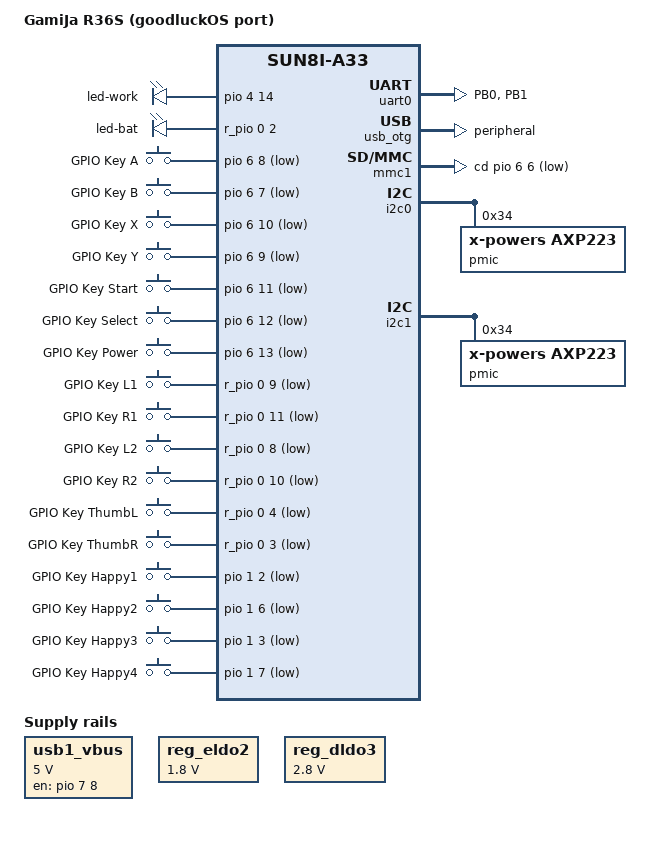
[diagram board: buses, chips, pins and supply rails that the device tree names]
/*
 * GamiJa R36S (Batocera clone) - shared device tree baseline
 *
 * Tracked in goodluckOS issue #99. Everything below is decoded from the
 * unit's own script.bin (see image/out/r36s-analysis/script.fex, produced
 * by image/tools/scriptbin2fex.py from the real 9.53 GB stock dump) plus
 * PCB evidence cross-checks. Every setting cites its fex source.
 *
 * Board summary (fex evidence):
 *   - SoC: Allwinner A33 ("parrot"), boot_clock 1008, 512 MB DDR3 (dram_type=3)
 *   - Display: NV3051D panel 640x480, 4-lane DSI, eotp=0 ([lcd0_para]):
 *     ht=820 hbp=100 hspw=20 vt=510 vbp=16 vspw=4, dclk 24 MHz
 *     lcd_power=axp22_dc1sw, lcd_power1=axp22_eldo2 (1.8 V), reset PH07
 *   - Backlight: PWM ch0 on PH00, lcd_pwm_freq=50000 -> 20 us period
 *   - Gamepad: analog sticks = GPADC (amux channels 6 7 5 4, invert x/y);
 *     digital buttons are plain GPIOs ([gpiokey_para], see below). There is
 *     NO UART-attached MCU (the GA36-MB gamepad driver does not apply).
 *   - Volume keys: LRADC ladder ([key_para] 190/390 -> KEY_VOLUMEUP/DOWN).
 *     The gpiokey PH04/PH05 entries duplicate those codes and collide with
 *     twi1 pins; they are template leftovers and are not implemented.
 *   - LEDs: work_led PE14, bat_led PL02 ([bat_leds], active high).
 *   - Audio: codec + speaker/headphone PA on PH09 ([audio0]) - same as the
 *     GA36-MB A33, so the sound wiring is inherited unchanged.
 *   - USB: OTG in peripheral mode ([usbc0] usb_port_type=0; matches the
 *     observed "console enumerates on phones but not PCs" behaviour); the
 *     dedicated host port ([usbc1]) drives VBUS on PH08.
 *   - PMU: AXP223. The unit wires it like the GA36-MB: RSB on PL0/PL1
 *     ([s_rsb0] s_rsb_used=1). [pmu1_para] pmu_twi_id=1/addr=52 are fex
 *     template defaults ([twi1] is explicitly twi_used=0); [twi_para] would
 *     instead suggest i2c0 @PH2/PH3. RSB is kept for now - verify the PMU
 *     probe on flash day via serial and switch to i2c0 if it fails.
 *   - Console UART: fex uart0 on PB0/PB1, mux 3 (mainline "uart0" function).
 *     Made serial0/ttyS0 so the stock bootargs console=ttyS0 keep working.
 *   - mmc0 = SD slot (PF pins, CD PB04); mmc1 = second SDIO bus with CD PG06
 *     (no wifi - [wifi_para] wifi_used=0; kept enabled as a plain SDIO bus).
 *
 * GPIO key map ([gpiokey_para], 19 keys; PH04/PH05 dropped, see above):
 *   PG07 BTN_EAST   PG08 BTN_SOUTH  PG09 BTN_WEST   PG10 BTN_NORTH
 *   PG11 BTN_START  PG12 BTN_SELECT PG13 KEY_SLEEP  (KEY code 704)
 *   PL03 BTN_THUMBR PL04 BTN_THUMBL PL08 BTN_TL2    PL09 BTN_TL
 *   PL10 BTN_TR2    PL11 BTN_TR
 *   PB02 BTN_TRIGGER_HAPPY1  PB03 BTN_TRIGGER_HAPPY3
 *   PB06 BTN_TRIGGER_HAPPY2  PB07 BTN_TRIGGER_HAPPY4
 *
 * Known deviations / TODO (verify on flash day via serial):
 *   - analog sticks need the GPADC amux dance (stock 3.4 driver); mainline
 *     has no equivalent, so only the digital buttons are wired for now.
 *   - power key: PG13 -> KEY_SLEEP as configured, plus the AXP223 PEK.
 *   - panel reset GPIO PH07 is taken from [lcd0_para] lcd_gpio_0 (BSP drives
 *     it high); confirm polarity if the panel stays dark.
 */
#include "ga36mb.dtsi"

/ {
    model = "GamiJa R36S (goodluckOS port)";
    compatible = "gaminja,r36s-a33-handheld", "allwinner,sun8i-a33";

    aliases {
        /* fex uart0 (PB0/PB1) = stock console; make it ttyS0 so the stock
         * u-boot env bootargs (console=ttyS0, rewritten by the installer)
         * reach it. The GA36-MB aliases point ttyS0 at its gamepad MCU
         * UART, which the R36S does not have. */
        serial0 = &uart0;
        mmc0 = &mmc0;
        mmc1 = &mmc1;
    };

    chosen {
        stdout-path = "serial0:115200n8";
    };

    /* Replace the GA36-MB LEDs (PL04/PG13 would fight the thumb buttons and
     * the power key). fex [bat_leds]: work_led=PE14, bat_led=PL02, both
     * driven high when lit (active_low=0). */
    /delete-node/ leds;

    leds {
        compatible = "gpio-leds";

        led-work {
            function = LED_FUNCTION_STATUS;
            gpios = <&pio 4 14 GPIO_ACTIVE_HIGH>;	/* PE14, fex work_led */
            default-state = "on";	/* DEBUG: gpio-leds probes early; revert before release */
        };

        led-bat {
            function = LED_FUNCTION_INDICATOR;
            gpios = <&r_pio 0 2 GPIO_ACTIVE_HIGH>;	/* PL02, fex bat_led */
            default-state = "off";
        };
    };

    /* Digital gamepad buttons ([gpiokey_para]). All are GPIO_ACTIVE_LOW with
     * default pull (the BSP muxes them as inputs); debounce 5 ms per fex.
     * Volume keys live on the LRADC (ga36mb.dtsi), not here. */
    gpio-keys {
        compatible = "gpio-keys";
        pinctrl-names = "default";
        pinctrl-0 = <&r36s_key_pins>, <&r36s_key_r_pins>;

        btn-a {
            label = "GPIO Key A";
            linux,code = <BTN_SOUTH>;
            gpios = <&pio 6 8 GPIO_ACTIVE_LOW>;		/* PG08 */
            debounce-interval = <5>;
        };

        btn-b {
            label = "GPIO Key B";
            linux,code = <BTN_EAST>;
            gpios = <&pio 6 7 GPIO_ACTIVE_LOW>;		/* PG07 */
            debounce-interval = <5>;
        };

        btn-x {
            label = "GPIO Key X";
            linux,code = <BTN_NORTH>;
            gpios = <&pio 6 10 GPIO_ACTIVE_LOW>;	/* PG10 */
            debounce-interval = <5>;
        };

        btn-y {
            label = "GPIO Key Y";
            linux,code = <BTN_WEST>;
            gpios = <&pio 6 9 GPIO_ACTIVE_LOW>;		/* PG09 */
            debounce-interval = <5>;
        };

        btn-start {
            label = "GPIO Key Start";
            linux,code = <BTN_START>;
            gpios = <&pio 6 11 GPIO_ACTIVE_LOW>;	/* PG11 */
            debounce-interval = <5>;
        };

        btn-select {
            label = "GPIO Key Select";
            linux,code = <BTN_SELECT>;
            gpios = <&pio 6 12 GPIO_ACTIVE_LOW>;	/* PG12 */
            debounce-interval = <5>;
        };

        btn-sleep {
            label = "GPIO Key Power";
            linux,code = <KEY_SLEEP>;
            gpios = <&pio 6 13 GPIO_ACTIVE_LOW>;	/* PG13 */
            debounce-interval = <5>;
            wakeup-source;
        };

        btn-l1 {
            label = "GPIO Key L1";
            linux,code = <BTN_TL>;
            gpios = <&r_pio 0 9 GPIO_ACTIVE_LOW>;	/* PL09 */
            debounce-interval = <5>;
        };

        btn-r1 {
            label = "GPIO Key R1";
            linux,code = <BTN_TR>;
            gpios = <&r_pio 0 11 GPIO_ACTIVE_LOW>;	/* PL11 */
            debounce-interval = <5>;
        };

        btn-l2 {
            label = "GPIO Key L2";
            linux,code = <BTN_TL2>;
            gpios = <&r_pio 0 8 GPIO_ACTIVE_LOW>;	/* PL08 */
            debounce-interval = <5>;
        };

        btn-r2 {
            label = "GPIO Key R2";
            linux,code = <BTN_TR2>;
            gpios = <&r_pio 0 10 GPIO_ACTIVE_LOW>;	/* PL10 */
            debounce-interval = <5>;
        };

        btn-thumbl {
            label = "GPIO Key ThumbL";
            linux,code = <BTN_THUMBL>;
            gpios = <&r_pio 0 4 GPIO_ACTIVE_LOW>;	/* PL04 */
            debounce-interval = <5>;
        };

        btn-thumbr {
            label = "GPIO Key ThumbR";
            linux,code = <BTN_THUMBR>;
            gpios = <&r_pio 0 3 GPIO_ACTIVE_LOW>;	/* PL03 */
            debounce-interval = <5>;
        };

        btn-happy1 {
            label = "GPIO Key Happy1";
            linux,code = <BTN_TRIGGER_HAPPY1>;
            gpios = <&pio 1 2 GPIO_ACTIVE_LOW>;		/* PB02 */
            debounce-interval = <5>;
        };

        btn-happy2 {
            label = "GPIO Key Happy2";
            linux,code = <BTN_TRIGGER_HAPPY2>;
            gpios = <&pio 1 6 GPIO_ACTIVE_LOW>;		/* PB06 */
            debounce-interval = <5>;
        };

        btn-happy3 {
            label = "GPIO Key Happy3";
            linux,code = <BTN_TRIGGER_HAPPY3>;
            gpios = <&pio 1 3 GPIO_ACTIVE_LOW>;		/* PB03 */
            debounce-interval = <5>;
        };

        btn-happy4 {
            label = "GPIO Key Happy4";
            linux,code = <BTN_TRIGGER_HAPPY4>;
            gpios = <&pio 1 7 GPIO_ACTIVE_LOW>;		/* PB07 */
            debounce-interval = <5>;
        };
    };

    /* Dedicated host port ([usbc1] usb_used=1, host_init_state=1) drives
     * VBUS with PH08 (mainline A33 host controller = ehci0/ohci0 on
     * usbphy 1). */
    usb1_vbus: usb1-vbus {
        compatible = "regulator-fixed";
        regulator-name = "usb1-vbus";
        regulator-min-microvolt = <5000000>;
        regulator-max-microvolt = <5000000>;
        gpio = <&pio 7 8 GPIO_ACTIVE_HIGH>;		/* PH08, fex usb_drv_vbus_gpio */
        enable-active-high;
    };
};

&pio {
    /* fex [uart_para]: uart0 on PB0/PB1, mux 3 = mainline "uart0" function */
    uart0_pb_pins: uart0-pb-pins {
        pins = "PB0", "PB1";
        function = "uart0";
    };

    /* All 17 GPIO buttons idle high (pull-ups) and pull to ground when
     * pressed; mux 0 (GPIO input) is the pinctrl default, so this only
     * needs the pin list for bias documentation. */
    r36s_key_pins: r36s-key-pins {
        pins = "PB2", "PB3", "PB6", "PB7",
               "PG7", "PG8", "PG9", "PG10", "PG11", "PG12", "PG13";
        function = "gpio_in";
        bias-pull-up;
    };
};

&r_pio {
    /* Shoulder/thumb buttons sit on R_PIO (PL bank, fex port letter 12) */
    r36s_key_r_pins: r36s-key-r-pins {
        pins = "PL3", "PL4", "PL8", "PL9", "PL10", "PL11";
        function = "gpio_in";
        bias-pull-up;
    };
};

/* Console UART (stock bootargs console=ttyS0) */
&uart0 {
    pinctrl-names = "default";
    pinctrl-0 = <&uart0_pb_pins>;
    status = "okay";
};

/* The GA36-MB UART setup does not apply to the R36S:
 * - uart1 (PG6/PG7) hosted its gamepad MCU; on the R36S those pins are
 *   [mmc1_para] sdc_det (PG06) and game buttons, so drop both.
 * - uart2 (PB0/PB1) is the stock console on the R36S and is taken by uart0. */
&uart1 {
    /delete-node/ serial-gamepad;
};

&uart1 {
    status = "disabled";
};

&uart2 {
    status = "disabled";
};

&usbphy {
    /* fex [usbc0]: usb_port_type=0 (plain device), detect_type=0 - there is
     * no OTG ID pin (matches the console never enumerating as a host). */
    /delete-property/ usb0_id_det-gpios;
    usb1_vbus-supply = <&usb1_vbus>;
};

&usb_otg {
    dr_mode = "peripheral";
    status = "okay";
};

/* SD slot is removable with a card-detect pin (fex sdc_det=PB04) */
&mmc0 {
    /delete-property/ non-removable;
};

/* Second SDIO bus, CD on PG06 (no wifi; kept as a plain SDIO bus) */
&mmc1 {
    /delete-property/ broken-cd;
    cd-gpios = <&pio 6 6 GPIO_ACTIVE_LOW>;	/* fex sdc_det=PG06 */
};

&backlight {
    /* fex [lcd0_para]: lcd_pwm_ch=0, lcd_pwm_freq=50000 -> 20 us period
     * (50 kHz); lcd0_backlight=50 -> 50 % default brightness. */
    pwms = <&pwm 0 20000 0>;
    default-brightness-level = <5>;
};

&dsi {
    /* ga36mb.dtsi declares the JD9366 panel; the R36S uses an NV3051D-
     * family controller instead. The compatible string is selected by the
     * panel1/panel2 top-level files; reg/reset/backlight live here.
     * NOTE: do not flash without one of them - without a compatible the
     * panel probe fails and the display stays black. */
    /delete-node/ panel@0;

    panel@0 {
        reg = <0>;
        vdd-supply = <&reg_dc1sw>;	/* fex lcd_power = axp22_dc1sw */
        reset-gpios = <&pio 7 7 GPIO_ACTIVE_LOW>;	/* fex lcd_gpio_0 = PH07 */
        backlight = <&backlight>;
    };
};

/* fex lcd_power1 = axp22_eldo2 (1.8 V rail for the panel IO side); the
 * NV3051D driver only takes one vdd supply, so keep eldo2 permanently on. */
&reg_eldo2 {
    regulator-always-on;
    regulator-min-microvolt = <1800000>;
    regulator-max-microvolt = <1800000>;
    regulator-name = "vcc-panel-1v8";
};

/* fex [power_sply] dldo3_vol = 2800 (DSI/phy rail; ga36mb assumed 3.0 V) */
&reg_dldo3 {
    regulator-min-microvolt = <2800000>;
    regulator-max-microvolt = <2800000>;
};

/* DEBUGLED PMU bus sweep (diagnostic build): the labelled pmic with the
 * panel's regulators stays on &r_rsb (PL0/PL1, GA36-MB wiring). Two extra
 * UNLABELED pmic instances probe the remaining plausible buses; whichever
 * glue actually reaches the chip turns off the work LED (see kernel
 * patches/0002-axp20x-debugled-off-on-axp-probe.patch, which also lights
 * the bat LED PL02 when either glue probes at all).
 *   - i2c0 @0x34 on PH2/PH3 ([twi_para] in the fex)
 *   - i2c1 @0x34 on PH4/PH5 ([pmu1_para] pmu_twi_id=1, pmu_twi_addr=52)
 * Inert when the device answers on RSB only; remove all three but one
 * once the PMU bus is confirmed on hardware. */
&i2c0 {
    status = "okay";

    pmic@34 {
        compatible = "x-powers,axp223";
        reg = <0x34>;
    };
};

&i2c1 {
    status = "okay";

    pmic@34 {
        compatible = "x-powers,axp223";
        reg = <0x34>;
    };
};
